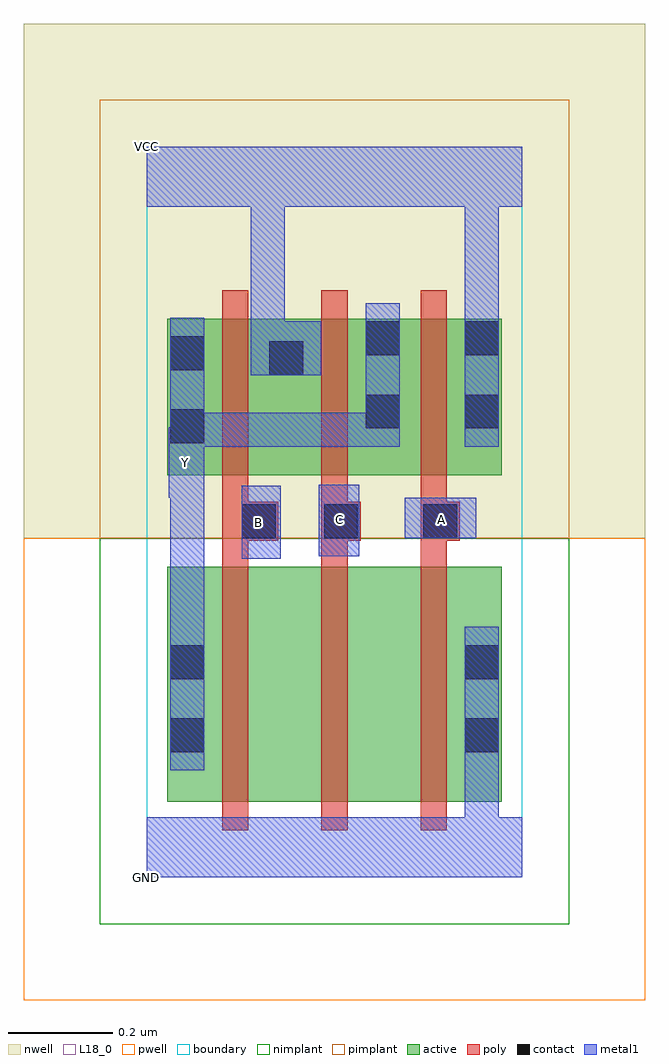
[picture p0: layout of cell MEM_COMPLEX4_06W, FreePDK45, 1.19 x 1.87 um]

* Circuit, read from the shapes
.subckt MEM_COMPLEX4_06W A B C GND VCC Y
M1 n1 B Y VSUBS nfet w=0.45u l=0.05u
M2 n2 C n1 VSUBS nfet w=0.45u l=0.05u
M3 GND A n2 VSUBS nfet w=0.45u l=0.05u
M4 VCC B Y n3 pfet w=0.3u l=0.05u
M5 Y C VCC n3 pfet w=0.3u l=0.05u
M6 VCC A Y n3 pfet w=0.3u l=0.05u
.ends

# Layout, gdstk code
import gdstk
lib = gdstk.Library(unit=1e-6, precision=1e-09)
def R(c, l, rs):  # rectangles x0, y0, x1, y1
    for r in rs: c.add(gdstk.rectangle(r[:2], r[2:], *l))
def A(c, l, x, y, w, h, nx, ny, dx, dy):  # array of equal rectangles
    R(c, l, [(x+i*dx, y+j*dy, x+i*dx+w, y+j*dy+h) for i in range(nx) for j in range(ny)])
active = (1, 0)
pwell = (2, 0)
nwell = (3, 0)
nimplant = (4, 0)
pimplant = (5, 0)
poly = (9, 0)
contact = (10, 0)
metal1 = (11, 0)
L18_0 = (18, 0)
boundary = (235, 0)

mem_complex4_06w = lib.new_cell('MEM_COMPLEX4_06W')
R(mem_complex4_06w, active, [(0.04,0.145,0.265,0.595), (0.04,0.145,0.145,0.595), (0.265,0.145,0.455,0.595), (0.455,0.145,0.68,0.595), (0.605,0.145,0.68,0.595), (0.04,0.77,0.115,1.07), (0.04,0.77,0.305,1.07), (0.23,0.77,0.49,1.07), (0.415,0.77,0.49,1.07), (0.415,0.77,0.68,1.07), (0.605,0.77,0.68,1.07), (0.23,0.887,0.305,1.07)])
R(mem_complex4_06w, pwell, [(-0.235,-0.235,0.955,0.65)])
R(mem_complex4_06w, nwell, [(-0.235,0.65,0.955,1.635)])
R(mem_complex4_06w, nimplant, [(-0.09,-0.09,0.81,0.65)])
R(mem_complex4_06w, pimplant, [(-0.09,0.65,0.81,1.49)])
A(mem_complex4_06w, poly, 0.145, 0.09, 0.05, 0.56, 3, 1, 0.19, 0)
A(mem_complex4_06w, poly, 0.145, 0.6, 0.05, 0.095, 3, 2, 0.19, 0.07)
A(mem_complex4_06w, poly, 0.145, 0.715, 0.05, 0.41, 3, 1, 0.19, 0)
R(mem_complex4_06w, poly, [(0.145,0.645,0.252,0.72), (0.335,0.645,0.41,0.72), (0.525,0.645,0.6,0.72)])
R(mem_complex4_06w, contact, [(0.045,0.24,0.11,0.305), (0.61,0.24,0.675,0.305), (0.045,0.38,0.11,0.445), (0.61,0.38,0.675,0.445), (0.182,0.65,0.247,0.715), (0.34,0.65,0.405,0.715), (0.53,0.65,0.595,0.715), (0.045,0.832,0.11,0.897), (0.42,0.86,0.485,0.925), (0.61,0.86,0.675,0.925), (0.235,0.962,0.3,1.027), (0.045,0.972,0.11,1.037), (0.42,1,0.485,1.065), (0.61,1,0.675,1.065)])
R(mem_complex4_06w, metal1, [(0,0,0.72,0.115), (0.61,0.05,0.675,0.115), (0.61,0.05,0.675,0.115), (0.61,0.05,0.675,0.27), (0.045,0.205,0.11,0.48), (0.61,0.205,0.675,0.48), (0.045,0.415,0.11,0.792), (0.182,0.61,0.257,0.75), (0.33,0.615,0.407,0.752), (0.495,0.65,0.632,0.727), (0.042,0.727,0.11,0.862), (0.045,0.797,0.11,0.862), (0.045,0.797,0.11,1.072), (0.045,0.825,0.11,0.89), (0.045,0.825,0.11,0.89), (0.045,0.825,0.347,0.89), (0.282,0.825,0.347,0.89), (0.282,0.825,0.422,0.89), (0.357,0.825,0.422,0.89), (0.357,0.825,0.485,0.89), (0.42,0.825,0.485,1.1), (0.61,0.825,0.675,1.1), (0.2,0.962,0.335,1.065), (0.2,1,0.265,1.065), (0.2,1,0.265,1.065), (0.2,1,0.265,1.23), (0.61,1.035,0.675,1.35), (0.61,1.035,0.675,1.1), (0.61,1.035,0.675,1.1), (0.2,1.165,0.265,1.23), (0.2,1.165,0.265,1.35), (0,1.285,0.72,1.4), (0.61,1.285,0.675,1.35), (0.61,1.285,0.675,1.35)])
R(mem_complex4_06w, L18_0, [(0,0,0.72,0.115), (0.61,0.05,0.675,0.115), (0.61,0.05,0.675,0.115), (0.61,0.05,0.675,0.27), (0.045,0.205,0.11,0.48), (0.61,0.205,0.675,0.48), (0.045,0.415,0.11,0.792), (0.182,0.61,0.257,0.75), (0.33,0.615,0.407,0.752), (0.182,0.647,0.247,0.712), (0.495,0.65,0.632,0.727), (0.337,0.652,0.402,0.717), (0.532,0.652,0.597,0.717), (0.042,0.727,0.11,0.862), (0.042,0.762,0.107,0.827), (0.045,0.797,0.11,1.072), (0.045,0.797,0.11,0.862), (0.045,0.825,0.11,0.89), (0.045,0.825,0.11,0.89), (0.045,0.825,0.347,0.89), (0.282,0.825,0.347,0.89), (0.282,0.825,0.422,0.89), (0.357,0.825,0.422,0.89), (0.357,0.825,0.485,0.89), (0.42,0.825,0.485,1.1), (0.61,0.825,0.675,1.1), (0.2,0.962,0.335,1.065), (0.2,1,0.265,1.065), (0.2,1,0.265,1.065), (0.2,1,0.265,1.23), (0.61,1.035,0.675,1.1), (0.61,1.035,0.675,1.1), (0.61,1.035,0.675,1.35), (0.2,1.165,0.265,1.23), (0.2,1.165,0.265,1.35), (0,1.285,0.72,1.4), (0.61,1.285,0.675,1.35), (0.61,1.285,0.675,1.35)])
R(mem_complex4_06w, boundary, [(0,0,0.72,1.4)])
mem_complex4_06w.add(gdstk.Label('A', (0.565,0.685), layer=11, texttype=0))
mem_complex4_06w.add(gdstk.Label('B', (0.215,0.68), layer=11, texttype=0))
mem_complex4_06w.add(gdstk.Label('C', (0.37,0.685), layer=11, texttype=0))
mem_complex4_06w.add(gdstk.Label('Y', (0.075,0.795), layer=11, texttype=0))
mem_complex4_06w.add(gdstk.Label('VCC', (0,1.4), layer=11, texttype=0))
mem_complex4_06w.add(gdstk.Label('GND', (0,0), layer=11, texttype=0))

lib.write_gds('MEM_COMPLEX4_06W.gds')
